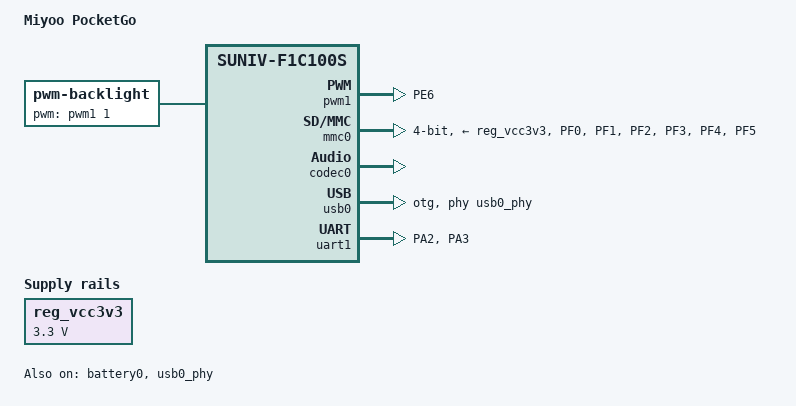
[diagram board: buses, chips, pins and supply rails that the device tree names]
// SPDX-License-Identifier: (GPL-2.0+ OR X11)
/*
 * Copyright 2019 James Lind <james@byteporter.com>
 */

/dts-v1/;

#include "suniv-f1c100s.dtsi"
#include <dt-bindings/clock/suniv-ccu-f1c100s.h>
#include <dt-bindings/reset/suniv-ccu-f1c100s.h>

/ {
    model = "Miyoo PocketGo";
    compatible = "miyoo,miyoo-pocketgo", "allwinner,suniv-f1c100s";

    aliases {
        serial1 = &uart1;
    };

    chosen {
        stdout-path = "serial1:115200n8";
    };

    backlight: backlight {
        compatible = "pwm-backlight";
        pwms = <&pwm1 1 58824 0>;
        brightness-levels = <0 10 20 30 40 50 60 70 80 90 100>;
        default-brightness-level = <5>;
        status = "okay";
    };

    reg_vcc3v3: vcc3v3 {
        compatible = "regulator-fixed";
        regulator-name = "vcc3v3";
        regulator-min-microvolt = <3300000>;
        regulator-max-microvolt = <3300000>;
    };
};

&{/soc} {
// This node exists in the miyoo stock device tree but I don't think there's ever actually been a
// 'suniv-dma' binding so I'm not sure what the purpose was. Possibly the 'daemon' program looks for it
// for some reason, but the dma controller doesn't seem to be implemented in any kernel I've seen

    dma: dma-controller@1c02000 {
        compatible = "allwinner,suniv-dma";
        reg = <0x01c02000 0x00001000>;
        #dma-cells = <1>;
    };

    pwm1: pwm@1c21000 {
        compatible = "allwinner,suniv-pwm";
        reg = <0x01c21000 0x00000400>;
        clocks = <&osc24M>;
        #pwm-cells = <3>;
        status = "okay";
        pinctrl-names = "default";
        pinctrl-0 = <&pwm1_pins>;
    };

    mmc0: mmc@1c0f000 {
        compatible = "allwinner,suniv-f1c100s-mmc", "allwinner,sun7i-a20-mmc";
        reg = <0x01c0f000 0x00001000>;
        clocks = <&ccu CLK_BUS_MMC0>, <&ccu CLK_MMC0>, <&ccu CLK_MMC0_OUTPUT>, <&ccu CLK_MMC0_SAMPLE>;
        clock-names = "ahb", "mmc", "output", "sample";
        resets = <&ccu RST_BUS_MMC0>;
        reset-names = "ahb";
        interrupts = <23>;
        pinctrl-names = "default";
        pinctrl-0 = <&mmc0_pins>;
        status = "okay";
        #address-cells = <1>;
        #size-cells = <0>;
        vmmc-supply = <&reg_vcc3v3>;
        bus-width = <4>;
        broken-cd;
    };

    battery0: battery@1c23400 {
        // TODO: Suspicious of all the f1c500s compats, check for code that matches in f1c500s kernel source
        compatible = "allwinner,suniv-f1c500s-battery";
        reg = <0x01c23400 0x00000400>;
        status = "okay";
    };

    codec0: codec@1c22000 {
        // TODO: Again check for the compat string in code, I'm thinking it might have changed for mainline
        compatible = "allwinner,suniv-f1c500s-codec", "allwinner,sun4i-codec";
        clocks = <&ccu CLK_BUS_CODEC>, <&ccu CLK_CODEC>;
        interrupts = <18>;
        status = "okay";
    };

    usb0: usb@1c13000 {
        compatible = "allwinner,suniv-f1c100s-musb";
        reg = <0x01c13000 0x00000400>;
        clocks = <&ccu CLK_BUS_OTG>;
        resets = <&ccu RST_BUS_OTG>;
        interrupts = <26>;
        interrupt-names = "mc";
        phys = <&usb0_phy 0>;
        phy-names = "usb0";
        extcon = <&usb0_phy 0>;
        allwinner,sram = <&otg_sram 1>;
        status = "okay";
        dr_mode = "otg";
    };

    usb0_phy: phy@1c13400 {
        compatible = "allwinner,suniv-f1c100s-usb-phy";
        reg = <0x01c13400 0x00000010>;
        reg-names = "phy_ctrl";
        clocks = <&ccu CLK_USB_PHY0>;
        clock-names = "usb0_phy";
        resets = <&ccu RST_USB_PHY0>;
        reset-names = "usb0_reset";
        #phy-cells = <1>;
        status = "okay";
        //TODO: Double check these gpios, not sure what this is supposed to configure off the top of my head.
        usb0_id_det-gpio = <&pio 4 2 0>;
    };
};

&otg_sram {
    status = "okay";
};

&pio {
    mmc0_pins: mmc-pins {
        pins = "PF0", "PF1", "PF2", "PF3", "PF4", "PF5";
        function = "mmc0";
    };

    uart1_pa_pins: uart1-pa-pins {
        pins = "PA2", "PA3";
        function = "uart1";
    };

    pwm1_pins: pwm1 {
        pins = "PE6";
        function = "pwm1";
    };
};

&uart1 {
    pinctrl-names = "default";
    pinctrl-0 = <&uart1_pa_pins>;
    status = "okay";
};

